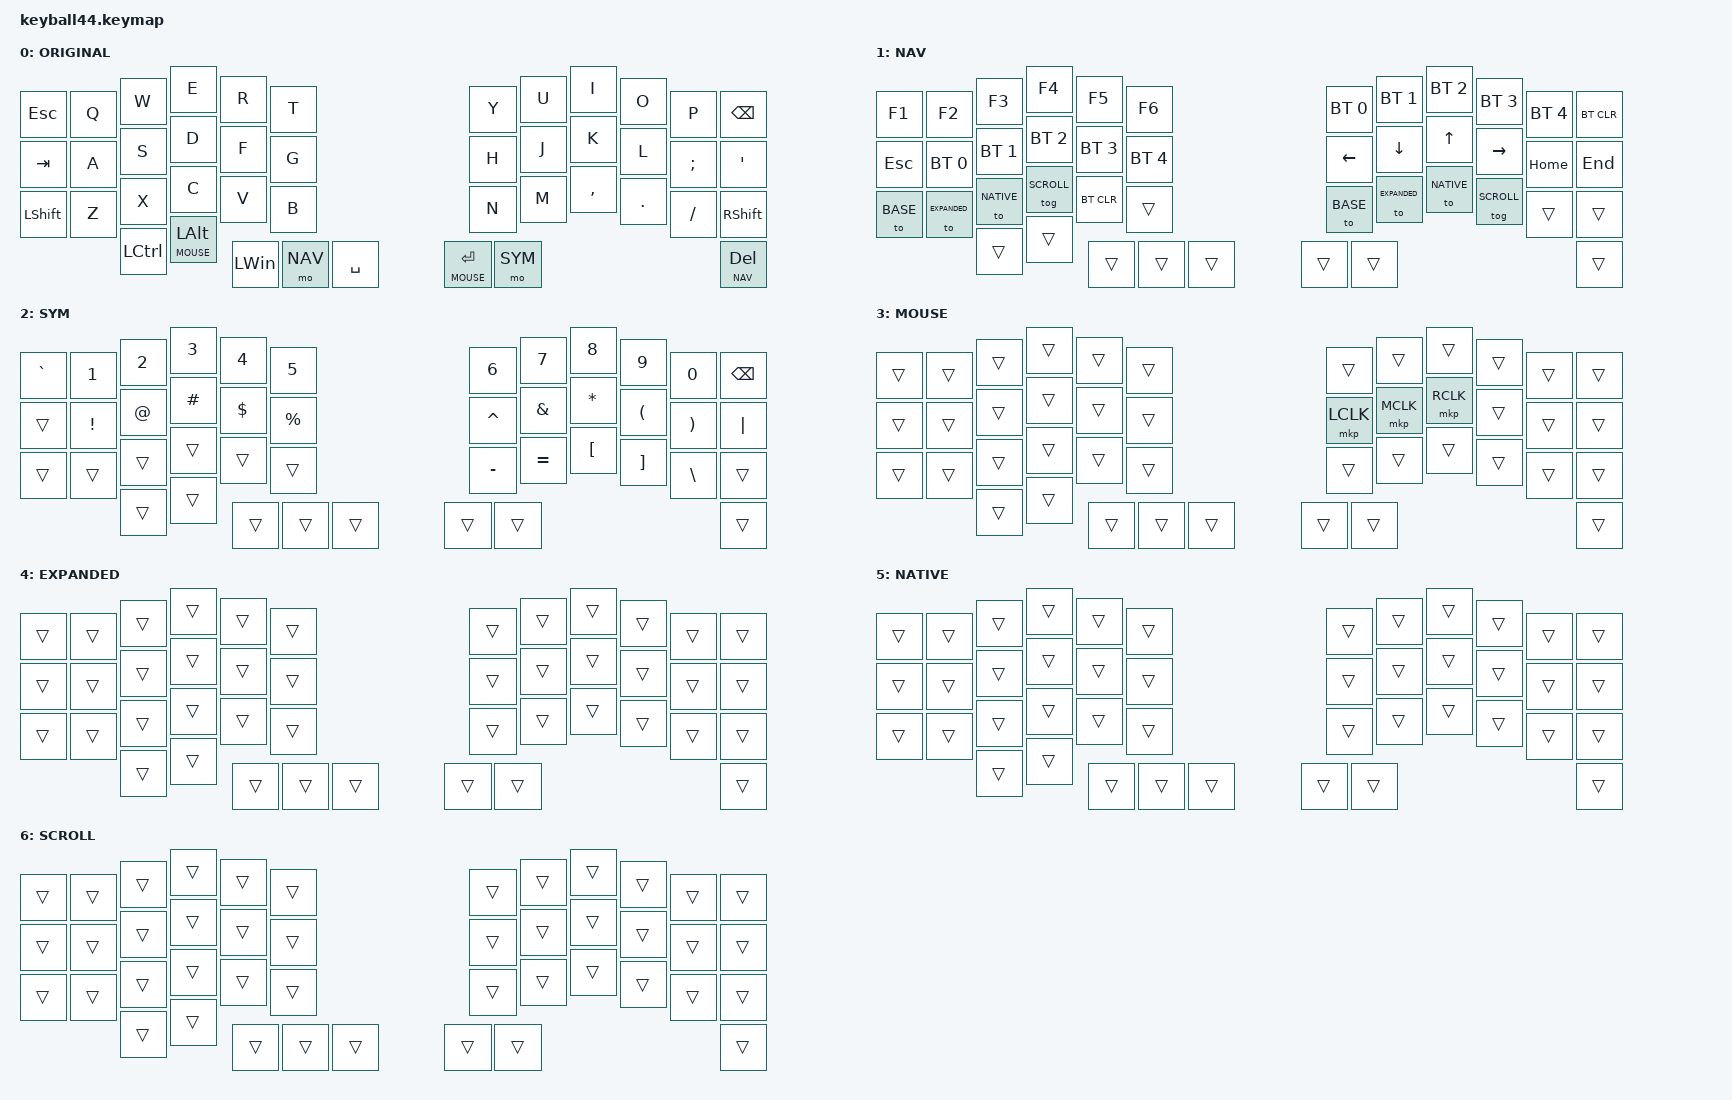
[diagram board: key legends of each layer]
/*
 * Keyball44 Rev1 first-article keymap.
 * SPDX-License-Identifier: MIT
 *
 * Pointer-mode layers are part of the firmware interface and must stay in sync
 * with the layer numbers in the right-half pointing-device overlays.
 */

#define BASE      0
#define NAV       1
#define SYM       2
#define MOUSE     3
#define EXPANDED  4
#define NATIVE    5
#define SCROLL    6

#include <behaviors.dtsi>
#include <dt-bindings/zmk/keys.h>
#include <dt-bindings/zmk/bt.h>
#include <dt-bindings/zmk/mouse.h>

/ {
#if defined(CONFIG_KEYBALL_PEER_LAYER_SYNC)
    peer_enroll: peer_enroll {
        compatible = "keyball,behavior-peer-enroll";
        #binding-cells = <0>;
    };

    combos {
        compatible = "zmk,combos";

        enroll_left {
            timeout-ms = <50>;
            key-positions = <0 5 12 17>;
            bindings = <&peer_enroll>;
        };

        enroll_right {
            timeout-ms = <50>;
            key-positions = <6 11 18 23>;
            bindings = <&peer_enroll>;
        };
    };
#endif

    keymap {
        compatible = "zmk,keymap";

        base_layer {
            label = "ORIGINAL";
            bindings = <
                &kp ESC         &kp Q           &kp W           &kp E           &kp R           &kp T           &kp Y           &kp U           &kp I           &kp O           &kp P           &kp BSPC
                &kp TAB         &kp A           &kp S           &kp D           &kp F           &kp G           &kp H           &kp J           &kp K           &kp L           &kp SEMI        &kp SQT
                &kp LEFT_SHIFT  &kp Z           &kp X           &kp C           &kp V           &kp B           &kp N           &kp M           &kp COMMA       &kp DOT         &kp FSLH        &kp RIGHT_SHIFT
                &kp LCTRL       &lt MOUSE LEFT_ALT &kp LEFT_WIN &mo NAV         &kp SPACE       &lt MOUSE ENTER &mo SYM         &lt NAV DELETE
            >;
        };

        nav_layer {
            label = "NAV";
            bindings = <
                &kp F1          &kp F2          &kp F3          &kp F4          &kp F5          &kp F6          &bt BT_SEL 0    &bt BT_SEL 1    &bt BT_SEL 2    &bt BT_SEL 3    &bt BT_SEL 4    &bt BT_CLR
                &kp ESC         &bt BT_SEL 0    &bt BT_SEL 1    &bt BT_SEL 2    &bt BT_SEL 3    &bt BT_SEL 4    &kp LEFT        &kp DOWN        &kp UP          &kp RIGHT       &kp HOME        &kp END
                &to BASE        &to EXPANDED    &to NATIVE      &tog SCROLL     &bt BT_CLR      &trans          &to BASE        &to EXPANDED    &to NATIVE      &tog SCROLL     &trans          &trans
                &trans          &trans          &trans          &trans          &trans          &trans          &trans          &trans
            >;
        };

        sym_layer {
            label = "SYM";
            bindings = <
                &kp GRAVE       &kp N1          &kp N2          &kp N3          &kp N4          &kp N5          &kp N6          &kp N7          &kp N8          &kp N9          &kp N0          &kp BSPC
                &trans          &kp EXCLAMATION &kp AT_SIGN     &kp HASH        &kp DOLLAR      &kp PERCENT     &kp CARET       &kp AMPERSAND   &kp ASTERISK    &kp LEFT_PARENTHESIS &kp RIGHT_PARENTHESIS &kp PIPE
                &trans          &trans          &trans          &trans          &trans          &trans          &kp MINUS       &kp EQUAL       &kp LEFT_BRACKET &kp RIGHT_BRACKET &kp BACKSLASH   &trans
                &trans          &trans          &trans          &trans          &trans          &trans          &trans          &trans
            >;
        };

        mouse_layer {
            label = "MOUSE";
            bindings = <
                &trans          &trans          &trans          &trans          &trans          &trans          &trans          &trans          &trans          &trans          &trans          &trans
                &trans          &trans          &trans          &trans          &trans          &trans          &mkp LCLK       &mkp MCLK       &mkp RCLK       &trans          &trans          &trans
                &trans          &trans          &trans          &trans          &trans          &trans          &trans          &trans          &trans          &trans          &trans          &trans
                &trans          &trans          &trans          &trans          &trans          &trans          &trans          &trans
            >;
        };

        expanded_layer {
            label = "EXPANDED";
            bindings = <
                &trans &trans &trans &trans &trans &trans &trans &trans &trans &trans &trans &trans
                &trans &trans &trans &trans &trans &trans &trans &trans &trans &trans &trans &trans
                &trans &trans &trans &trans &trans &trans &trans &trans &trans &trans &trans &trans
                &trans &trans &trans &trans &trans &trans &trans &trans
            >;
        };

        native_layer {
            label = "NATIVE";
            bindings = <
                &trans &trans &trans &trans &trans &trans &trans &trans &trans &trans &trans &trans
                &trans &trans &trans &trans &trans &trans &trans &trans &trans &trans &trans &trans
                &trans &trans &trans &trans &trans &trans &trans &trans &trans &trans &trans &trans
                &trans &trans &trans &trans &trans &trans &trans &trans
            >;
        };

        scroll_layer {
            label = "SCROLL";
            bindings = <
                &trans &trans &trans &trans &trans &trans &trans &trans &trans &trans &trans &trans
                &trans &trans &trans &trans &trans &trans &trans &trans &trans &trans &trans &trans
                &trans &trans &trans &trans &trans &trans &trans &trans &trans &trans &trans &trans
                &trans &trans &trans &trans &trans &trans &trans &trans
            >;
        };
    };
};
